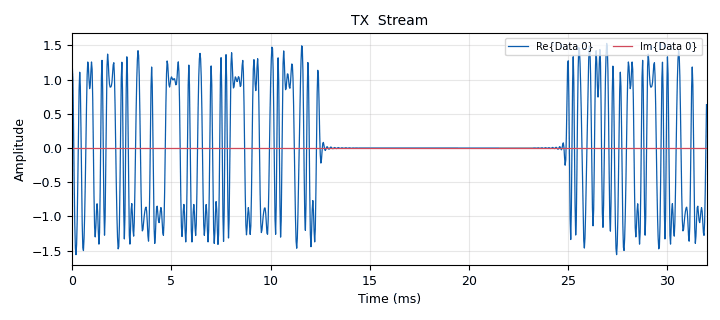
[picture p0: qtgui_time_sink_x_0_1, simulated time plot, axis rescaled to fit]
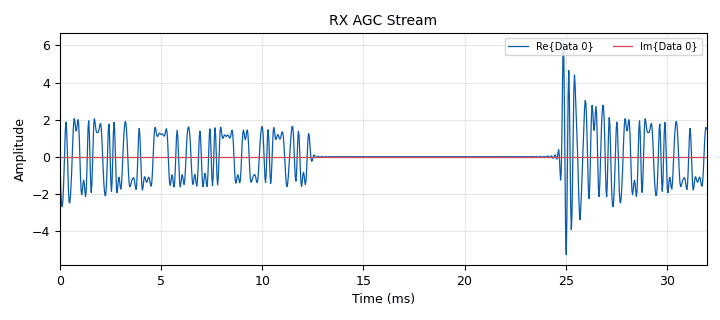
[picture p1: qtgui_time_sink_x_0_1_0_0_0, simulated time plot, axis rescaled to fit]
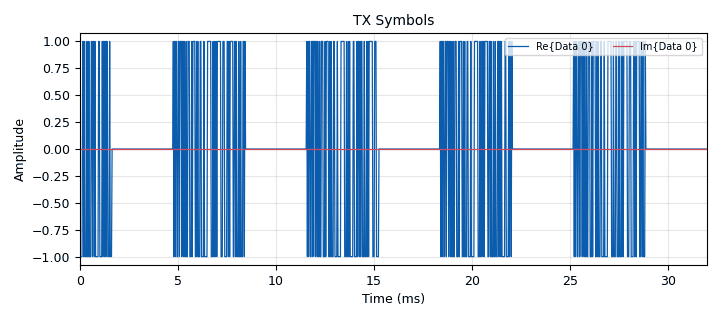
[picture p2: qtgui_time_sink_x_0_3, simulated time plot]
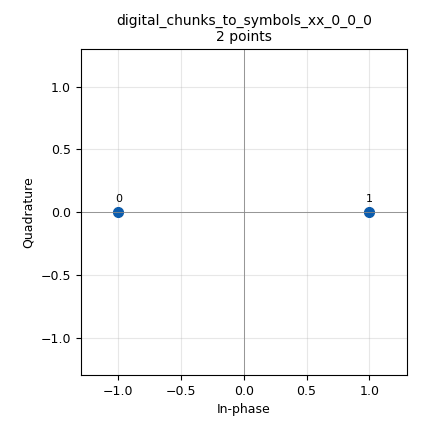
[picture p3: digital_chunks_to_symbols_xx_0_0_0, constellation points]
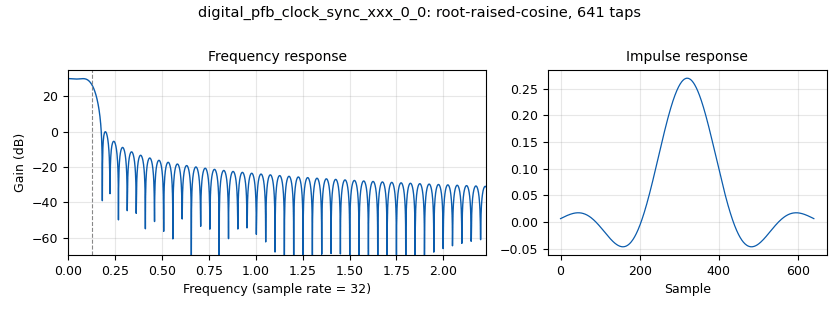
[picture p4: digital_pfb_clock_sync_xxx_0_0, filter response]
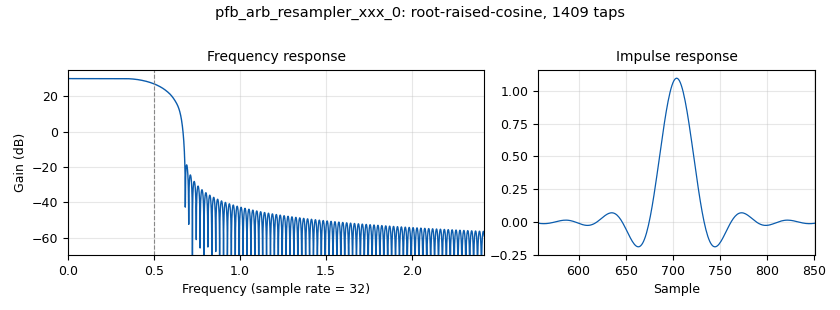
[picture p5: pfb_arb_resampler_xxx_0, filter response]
<?xml version='1.0' encoding='utf-8'?>
<?grc format='1' created='3.7.9'?>
<flow_graph>
<block>
<key>options</key>
<param><key>id</key><value>basic_chain</value></param>
<param><key>category</key><value>Custom</value></param>
<param><key>generate_options</key><value>qt_gui</value></param>
</block>
<block>
<key>variable_constellation</key>
<param><key>id</key><value>constel_header</value></param>
<param><key>const_points</key><value>[1,-1]</value></param>
<param><key>dims</key><value>1</value></param>
<param><key>_enabled</key><value>0</value></param>
<param><key>rot_sym</key><value>2</value></param>
<param><key>precision</key><value>8</value></param>
<param><key>sym_map</key><value>[0,1]</value></param>
</block>
<block>
<key>variable</key>
<param><key>id</key><value>constel_header</value></param>
<param><key>value</key><value>digital.constellation_bpsk()</value></param>
</block>
<block>
<key>variable_constellation</key>
<param><key>id</key><value>constel_payload</value></param>
<param><key>const_points</key><value>[-1-1j, -1+1j, 1+1j, 1-1j]</value></param>
<param><key>dims</key><value>1</value></param>
<param><key>_enabled</key><value>0</value></param>
<param><key>rot_sym</key><value>4</value></param>
<param><key>precision</key><value>8</value></param>
<param><key>sym_map</key><value>[0, 1, 3, 2]</value></param>
</block>
<block>
<key>variable</key>
<param><key>id</key><value>constel_payload</value></param>
<param><key>value</key><value>digital.constellation_bpsk()</value></param>
</block>
<block>
<key>variable</key>
<param><key>id</key><value>constel_preamble</value></param>
<param><key>value</key><value>digital.constellation_bpsk()</value></param>
</block>
<block>
<key>variable</key>
<param><key>id</key><value>eb</value></param>
<param><key>value</key><value>0.35</value></param>
</block>
<block>
<key>variable</key>
<param><key>id</key><value>header_formatter</value></param>
<param><key>value</key><value>digital.packet_header_default(4, "packet_len", "packet_num", constel_header.bits_per_symbol())</value></param>
</block>
<block>
<key>variable</key>
<param><key>id</key><value>matched_filter</value></param>
<param><key>value</key><value>firdes.root_raised_cosine(nfilts, nfilts, 1.0, eb, 11*sps*nfilts)</value></param>
</block>
<block>
<key>variable</key>
<param><key>id</key><value>nfilts</value></param>
<param><key>value</key><value>32</value></param>
</block>
<block>
<key>variable</key>
<param><key>id</key><value>preamble</value></param>
<param><key>value</key><value>[1,-1,1,-1,1,1,-1,-1,1,1,-1,1,1,1,-1,1,1,-1,1,-1,-1,1,-1,-1,1,1,1,-1,-1,-1,1,-1,1,1,1,1,-1,-1,1,-1,1,-1,-1,-1,1,1,-1,-1,-1,-1,1,-1,-1,-1,-1,-1,1,1,1,1,1,1,-1,-1]</value></param>
</block>
<block>
<key>variable</key>
<param><key>id</key><value>rrc_taps</value></param>
<param><key>value</key><value>firdes.root_raised_cosine(nfilts, nfilts, 1.0/float(sps), eb, 5*sps*nfilts)</value></param>
</block>
<block>
<key>variable</key>
<param><key>id</key><value>rrc_taps_enc</value></param>
<param><key>value</key><value>firdes.root_raised_cosine(nfilts, nfilts, 1.0, eb, 11*sps*nfilts)</value></param>
</block>
<block>
<key>variable_qtgui_range</key>
<param><key>id</key><value>samp_rate</value></param>
<param><key>value</key><value>32000</value></param>
<param><key>gui_hint</key><value>3,1,1,1</value></param>
<param><key>label</key><value>Sample rate</value></param>
<param><key>orient</key><value>Qt.Horizontal</value></param>
<param><key>start</key><value>1</value></param>
<param><key>step</key><value>10</value></param>
<param><key>stop</key><value>256000</value></param>
<param><key>rangeType</key><value>int</value></param>
<param><key>widget</key><value>slider</value></param>
</block>
<block>
<key>variable</key>
<param><key>id</key><value>samp_rate</value></param>
<param><key>_enabled</key><value>0</value></param>
<param><key>value</key><value>32000</value></param>
</block>
<block>
<key>variable</key>
<param><key>id</key><value>sps</value></param>
<param><key>value</key><value>4</value></param>
</block>
<block>
<key>analog_agc2_xx</key>
<param><key>id</key><value>analog_agc2_xx_0</value></param>
<param><key>attack_rate</key><value>0.6e-1</value></param>
<param><key>decay_rate</key><value>1e-3</value></param>
<param><key>_enabled</key><value>0</value></param>
<param><key>gain</key><value>1.0</value></param>
<param><key>max_gain</key><value>65536</value></param>
<param><key>reference</key><value>1.0</value></param>
<param><key>type</key><value>complex</value></param>
</block>
<block>
<key>analog_agc2_xx</key>
<param><key>id</key><value>analog_agc2_xx_0_0</value></param>
<param><key>attack_rate</key><value>1e-1</value></param>
<param><key>decay_rate</key><value>1e-2</value></param>
<param><key>gain</key><value>1.0</value></param>
<param><key>max_gain</key><value>5</value></param>
<param><key>reference</key><value>1.0</value></param>
<param><key>type</key><value>complex</value></param>
</block>
<block>
<key>analog_random_source_x</key>
<param><key>id</key><value>analog_random_source_x_0_0</value></param>
<param><key>max</key><value>256</value></param>
<param><key>min</key><value>0</value></param>
<param><key>num_samps</key><value>10</value></param>
<param><key>type</key><value>byte</value></param>
<param><key>repeat</key><value>True</value></param>
</block>
<block>
<key>blocks_char_to_float</key>
<param><key>id</key><value>blocks_char_to_float_0</value></param>
<param><key>_enabled</key><value>0</value></param>
<param><key>scale</key><value>1</value></param>
</block>
<block>
<key>blocks_char_to_float</key>
<param><key>id</key><value>blocks_char_to_float_1</value></param>
<param><key>scale</key><value>1</value></param>
</block>
<block>
<key>blocks_complex_to_imag</key>
<param><key>id</key><value>blocks_complex_to_imag_0</value></param>
</block>
<block>
<key>blocks_complex_to_real</key>
<param><key>id</key><value>blocks_complex_to_real_0</value></param>
</block>
<block>
<key>blocks_null_sink</key>
<param><key>id</key><value>blocks_null_sink_0</value></param>
<param><key>bus_conns</key><value>[[0,],]</value></param>
<param><key>type</key><value>float</value></param>
</block>
<block>
<key>blocks_null_source</key>
<param><key>id</key><value>blocks_null_source_0</value></param>
<param><key>bus_conns</key><value>[[0,],]</value></param>
<param><key>type</key><value>float</value></param>
</block>
<block>
<key>blocks_null_source</key>
<param><key>id</key><value>blocks_null_source_0_0</value></param>
<param><key>bus_conns</key><value>[[0,],]</value></param>
<param><key>type</key><value>complex</value></param>
</block>
<block>
<key>blocks_null_source</key>
<param><key>id</key><value>blocks_null_source_1</value></param>
<param><key>bus_conns</key><value>[[0,],]</value></param>
<param><key>_enabled</key><value>0</value></param>
<param><key>type</key><value>float</value></param>
</block>
<block>
<key>blocks_repack_bits_bb</key>
<param><key>id</key><value>blocks_repack_bits_bb_0_0</value></param>
<param><key>k</key><value>constel_payload.bits_per_symbol()</value></param>
<param><key>l</key><value>constel_payload.bits_per_symbol()</value></param>
<param><key>endianness</key><value>gr.GR_LSB_FIRST</value></param>
<param><key>len_tag_key</key><value>"packet_len"</value></param>
</block>
<block>
<key>blocks_repack_bits_bb</key>
<param><key>id</key><value>blocks_repack_bits_bb_0_1</value></param>
<param><key>k</key><value>8</value></param>
<param><key>l</key><value>constel_payload.bits_per_symbol()</value></param>
<param><key>endianness</key><value>gr.GR_LSB_FIRST</value></param>
<param><key>len_tag_key</key><value></value></param>
</block>
<block>
<key>blocks_repack_bits_bb</key>
<param><key>id</key><value>blocks_repack_bits_bb_0_2</value></param>
<param><key>k</key><value>constel_payload.bits_per_symbol()</value></param>
<param><key>l</key><value>8</value></param>
<param><key>endianness</key><value>gr.GR_LSB_FIRST</value></param>
<param><key>len_tag_key</key><value></value></param>
</block>
<block>
<key>blocks_repack_bits_bb</key>
<param><key>id</key><value>blocks_repack_bits_bb_1</value></param>
<param><key>k</key><value>1</value></param>
<param><key>l</key><value>2</value></param>
<param><key>_enabled</key><value>0</value></param>
<param><key>endianness</key><value>gr.GR_MSB_FIRST</value></param>
</block>
<block>
<key>blocks_stream_to_tagged_stream</key>
<param><key>id</key><value>blocks_stream_to_tagged_stream_0_0</value></param>
<param><key>len_tag_key</key><value>"packet_len"</value></param>
<param><key>packet_len</key><value>64</value></param>
<param><key>type</key><value>complex</value></param>
</block>
<block>
<key>blocks_stream_to_tagged_stream</key>
<param><key>id</key><value>blocks_stream_to_tagged_stream_0_0_0_0</value></param>
<param><key>len_tag_key</key><value>"packet_len"</value></param>
<param><key>packet_len</key><value>100</value></param>
<param><key>type</key><value>complex</value></param>
</block>
<block>
<key>blocks_stream_to_tagged_stream</key>
<param><key>id</key><value>blocks_stream_to_tagged_stream_0_1</value></param>
<param><key>len_tag_key</key><value>"packet_len"</value></param>
<param><key>packet_len</key><value>50</value></param>
<param><key>type</key><value>byte</value></param>
</block>
<block>
<key>blocks_tag_gate</key>
<param><key>id</key><value>blocks_tag_gate_0</value></param>
<param><key>type</key><value>complex</value></param>
<param><key>propagate_tags</key><value>False</value></param>
</block>
<block>
<key>blocks_tagged_stream_mux</key>
<param><key>id</key><value>blocks_tagged_stream_mux_0_0</value></param>
<param><key>type</key><value>complex</value></param>
<param><key>lengthtagname</key><value>packet_len</value></param>
<param><key>ninputs</key><value>4</value></param>
</block>
<block>
<key>blocks_throttle</key>
<param><key>id</key><value>blocks_throttle_0</value></param>
<param><key>samples_per_second</key><value>samp_rate/2</value></param>
<param><key>type</key><value>complex</value></param>
</block>
<block>
<key>blocks_vector_source_x</key>
<param><key>id</key><value>blocks_vector_source_x_0_0</value></param>
<param><key>type</key><value>complex</value></param>
<param><key>repeat</key><value>True</value></param>
<param><key>vector</key><value>preamble</value></param>
</block>
<block>
<key>channels_channel_model</key>
<param><key>id</key><value>channels_channel_model_0</value></param>
<param><key>epsilon</key><value>1.0</value></param>
<param><key>freq_offset</key><value>0.0</value></param>
<param><key>noise_voltage</key><value>0.0</value></param>
<param><key>seed</key><value>0</value></param>
<param><key>taps</key><value>1</value></param>
</block>
<block>
<key>digital_binary_slicer_fb</key>
<param><key>id</key><value>digital_binary_slicer_fb_0</value></param>
<param><key>_enabled</key><value>0</value></param>
</block>
<block>
<key>digital_chunks_to_symbols_xx</key>
<param><key>id</key><value>digital_chunks_to_symbols_xx_0_0_0</value></param>
<param><key>dimension</key><value>1</value></param>
<param><key>in_type</key><value>byte</value></param>
<param><key>out_type</key><value>complex</value></param>
<param><key>symbol_table</key><value>constel_payload.points()</value></param>
</block>
<block>
<key>digital_chunks_to_symbols_xx</key>
<param><key>id</key><value>digital_chunks_to_symbols_xx_0_1</value></param>
<param><key>dimension</key><value>1</value></param>
<param><key>in_type</key><value>byte</value></param>
<param><key>out_type</key><value>complex</value></param>
<param><key>symbol_table</key><value>constel_header.points()</value></param>
</block>
<block>
<key>digital_constellation_decoder_cb</key>
<param><key>id</key><value>digital_constellation_decoder_cb_0</value></param>
<param><key>constellation</key><value>constel_header.base()</value></param>
</block>
<block>
<key>digital_constellation_decoder_cb</key>
<param><key>id</key><value>digital_constellation_decoder_cb_0_0</value></param>
<param><key>constellation</key><value>constel_payload.base()</value></param>
</block>
<block>
<key>digital_constellation_soft_decoder_cf</key>
<param><key>id</key><value>digital_constellation_soft_decoder_cf_0</value></param>
<param><key>constellation</key><value>constel_payload.base()</value></param>
<param><key>_enabled</key><value>0</value></param>
</block>
<block>
<key>digital_correlate_and_sync_cc</key>
<param><key>id</key><value>digital_correlate_and_sync_cc_0</value></param>
<param><key>filter</key><value>matched_filter</value></param>
<param><key>sps</key><value>sps</value></param>
<param><key>symbols</key><value>preamble</value></param>
</block>
<block>
<key>digital_fll_band_edge_cc</key>
<param><key>id</key><value>digital_fll_band_edge_cc_0</value></param>
<param><key>_enabled</key><value>0</value></param>
<param><key>rolloff</key><value>eb</value></param>
<param><key>w</key><value>3.14*2/1000</value></param>
<param><key>filter_size</key><value>55</value></param>
<param><key>samps_per_sym</key><value>sps</value></param>
<param><key>type</key><value>cc</value></param>
</block>
<block>
<key>digital_header_payload_demux</key>
<param><key>id</key><value>digital_header_payload_demux_0</value></param>
<param><key>header_len</key><value>16</value></param>
<param><key>type</key><value>complex</value></param>
<param><key>items_per_symbol</key><value>1</value></param>
<param><key>length_tag_key</key><value>"packet_len"</value></param>
<param><key>output_symbols</key><value>True</value></param>
<param><key>samp_rate</key><value>samp_rate</value></param>
<param><key>special_tags</key><value>()</value></param>
<param><key>timing_tag_key</key><value></value></param>
<param><key>trigger_tag_key</key><value>"packet_len"</value></param>
</block>
<block>
<key>digital_packet_headergenerator_bb</key>
<param><key>id</key><value>digital_packet_headergenerator_bb_0_0</value></param>
<param><key>header_formatter</key><value>header_formatter</value></param>
<param><key>len_tag_key</key><value>"packet_len"</value></param>
</block>
<block>
<key>digital_packet_headerparser_b</key>
<param><key>id</key><value>digital_packet_headerparser_b_0</value></param>
<param><key>header_formatter</key><value>header_formatter.base()</value></param>
</block>
<block>
<key>digital_pfb_clock_sync_xxx</key>
<param><key>id</key><value>digital_pfb_clock_sync_xxx_0</value></param>
<param><key>_enabled</key><value>0</value></param>
<param><key>filter_size</key><value>32</value></param>
<param><key>init_phase</key><value>16</value></param>
<param><key>loop_bw</key><value>3.14*2/1000</value></param>
<param><key>max_dev</key><value>1.0</value></param>
<param><key>osps</key><value>1</value></param>
<param><key>sps</key><value>sps</value></param>
<param><key>taps</key><value>rrc_taps</value></param>
<param><key>type</key><value>ccf</value></param>
</block>
<block>
<key>digital_pfb_clock_sync_xxx</key>
<param><key>id</key><value>digital_pfb_clock_sync_xxx_0_0</value></param>
<param><key>filter_size</key><value>32</value></param>
<param><key>init_phase</key><value>0</value></param>
<param><key>loop_bw</key><value>3.14*2/100</value></param>
<param><key>max_dev</key><value>1.5</value></param>
<param><key>osps</key><value>1</value></param>
<param><key>sps</key><value>sps</value></param>
<param><key>taps</key><value>rrc_taps</value></param>
<param><key>type</key><value>ccf</value></param>
</block>
<block>
<key>pfb_arb_resampler_xxx</key>
<param><key>id</key><value>pfb_arb_resampler_xxx_0</value></param>
<param><key>nfilts</key><value>32</value></param>
<param><key>rrate</key><value>sps</value></param>
<param><key>atten</key><value>100</value></param>
<param><key>taps</key><value>rrc_taps_enc</value></param>
<param><key>type</key><value>ccf</value></param>
</block>
<block>
<key>qtgui_const_sink_x</key>
<param><key>id</key><value>qtgui_const_sink_x_0_0</value></param>
<param><key>name</key><value>"RX  Header Constellations"</value></param>
<param><key>size</key><value>1024</value></param>
<param><key>type</key><value>complex</value></param>
</block>
<block>
<key>qtgui_time_sink_x</key>
<param><key>id</key><value>qtgui_time_sink_x_0_0</value></param>
<param><key>color1</key><value>"blue"</value></param>
<param><key>label1</key><value></value></param>
<param><key>color2</key><value>"red"</value></param>
<param><key>label2</key><value></value></param>
<param><key>name</key><value>"RX Symbols"</value></param>
<param><key>size</key><value>1024</value></param>
<param><key>srate</key><value>samp_rate</value></param>
<param><key>type</key><value>complex</value></param>
</block>
<block>
<key>qtgui_time_sink_x</key>
<param><key>id</key><value>qtgui_time_sink_x_0_1</value></param>
<param><key>color1</key><value>"blue"</value></param>
<param><key>label1</key><value></value></param>
<param><key>color2</key><value>"red"</value></param>
<param><key>label2</key><value></value></param>
<param><key>name</key><value>"TX  Stream"</value></param>
<param><key>size</key><value>1024</value></param>
<param><key>srate</key><value>samp_rate</value></param>
<param><key>type</key><value>complex</value></param>
</block>
<block>
<key>qtgui_time_sink_x</key>
<param><key>id</key><value>qtgui_time_sink_x_0_1_0</value></param>
<param><key>_enabled</key><value>0</value></param>
<param><key>color1</key><value>"blue"</value></param>
<param><key>label1</key><value></value></param>
<param><key>color2</key><value>"red"</value></param>
<param><key>label2</key><value></value></param>
<param><key>name</key><value>"RX Synced Stream"</value></param>
<param><key>size</key><value>1024</value></param>
<param><key>srate</key><value>samp_rate</value></param>
<param><key>type</key><value>complex</value></param>
</block>
<block>
<key>qtgui_time_sink_x</key>
<param><key>id</key><value>qtgui_time_sink_x_0_1_0_0</value></param>
<param><key>color1</key><value>"blue"</value></param>
<param><key>label1</key><value></value></param>
<param><key>color2</key><value>"red"</value></param>
<param><key>label2</key><value></value></param>
<param><key>name</key><value>"RX  Costas Stream"</value></param>
<param><key>size</key><value>1024</value></param>
<param><key>srate</key><value>samp_rate</value></param>
<param><key>type</key><value>complex</value></param>
<param><key>ymax</key><value>100</value></param>
<param><key>ymin</key><value>-100</value></param>
</block>
<block>
<key>qtgui_time_sink_x</key>
<param><key>id</key><value>qtgui_time_sink_x_0_1_0_0_0</value></param>
<param><key>color1</key><value>"blue"</value></param>
<param><key>label1</key><value></value></param>
<param><key>color2</key><value>"red"</value></param>
<param><key>label2</key><value></value></param>
<param><key>name</key><value>"RX AGC Stream"</value></param>
<param><key>size</key><value>1024</value></param>
<param><key>srate</key><value>samp_rate</value></param>
<param><key>type</key><value>complex</value></param>
</block>
<block>
<key>qtgui_time_sink_x</key>
<param><key>id</key><value>qtgui_time_sink_x_0_1_0_0_0_0</value></param>
<param><key>color1</key><value>"blue"</value></param>
<param><key>label1</key><value></value></param>
<param><key>color2</key><value>"red"</value></param>
<param><key>label2</key><value></value></param>
<param><key>name</key><value>"RX Correlated Stream"</value></param>
<param><key>size</key><value>1024</value></param>
<param><key>srate</key><value>samp_rate</value></param>
<param><key>type</key><value>complex</value></param>
</block>
<block>
<key>qtgui_time_sink_x</key>
<param><key>id</key><value>qtgui_time_sink_x_0_1_0_0_1</value></param>
<param><key>color1</key><value>"blue"</value></param>
<param><key>label1</key><value></value></param>
<param><key>color2</key><value>"red"</value></param>
<param><key>label2</key><value></value></param>
<param><key>name</key><value>"RX  Demux Header Stream"</value></param>
<param><key>size</key><value>1024</value></param>
<param><key>srate</key><value>samp_rate</value></param>
<param><key>type</key><value>complex</value></param>
<param><key>ymax</key><value>100</value></param>
<param><key>ymin</key><value>-100</value></param>
</block>
<block>
<key>qtgui_time_sink_x</key>
<param><key>id</key><value>qtgui_time_sink_x_0_1_0_0_1_0</value></param>
<param><key>color1</key><value>"blue"</value></param>
<param><key>label1</key><value></value></param>
<param><key>color2</key><value>"red"</value></param>
<param><key>label2</key><value></value></param>
<param><key>name</key><value>"RX  Demux Paylaod Stream"</value></param>
<param><key>size</key><value>1024</value></param>
<param><key>srate</key><value>samp_rate</value></param>
<param><key>type</key><value>complex</value></param>
<param><key>ymax</key><value>100</value></param>
<param><key>ymin</key><value>-100</value></param>
</block>
<block>
<key>qtgui_time_sink_x</key>
<param><key>id</key><value>qtgui_time_sink_x_0_1_0_0_2</value></param>
<param><key>color1</key><value>"blue"</value></param>
<param><key>label1</key><value></value></param>
<param><key>color2</key><value>"red"</value></param>
<param><key>label2</key><value></value></param>
<param><key>name</key><value>"RX  Polyphased Stream"</value></param>
<param><key>size</key><value>1024</value></param>
<param><key>srate</key><value>samp_rate</value></param>
<param><key>type</key><value>complex</value></param>
<param><key>ymax</key><value>100</value></param>
<param><key>ymin</key><value>-100</value></param>
</block>
<block>
<key>qtgui_time_sink_x</key>
<param><key>id</key><value>qtgui_time_sink_x_0_2</value></param>
<param><key>color1</key><value>"blue"</value></param>
<param><key>label1</key><value></value></param>
<param><key>color2</key><value>"red"</value></param>
<param><key>label2</key><value></value></param>
<param><key>name</key><value>"Correlation"</value></param>
<param><key>nconnections</key><value>2</value></param>
<param><key>size</key><value>10000</value></param>
<param><key>srate</key><value>samp_rate*2</value></param>
<param><key>type</key><value>float</value></param>
<param><key>update_time</key><value>0.02</value></param>
</block>
<block>
<key>qtgui_time_sink_x</key>
<param><key>id</key><value>qtgui_time_sink_x_0_3</value></param>
<param><key>color1</key><value>"blue"</value></param>
<param><key>label1</key><value></value></param>
<param><key>color2</key><value>"red"</value></param>
<param><key>label2</key><value></value></param>
<param><key>name</key><value>"TX Symbols"</value></param>
<param><key>size</key><value>1024</value></param>
<param><key>srate</key><value>samp_rate</value></param>
<param><key>type</key><value>complex</value></param>
</block>
<block>
<key>qtgui_time_sink_x</key>
<param><key>id</key><value>qtgui_time_sink_x_1</value></param>
<param><key>color1</key><value>"blue"</value></param>
<param><key>label1</key><value>Original data</value></param>
<param><key>color2</key><value>"red"</value></param>
<param><key>label2</key><value>Received data</value></param>
<param><key>name</key><value>"Data comparison"</value></param>
<param><key>nconnections</key><value>2</value></param>
<param><key>size</key><value>1024</value></param>
<param><key>srate</key><value>samp_rate</value></param>
<param><key>type</key><value>float</value></param>
</block>
<block>
<key>virtual_sink</key>
<param><key>id</key><value>virtual_sink_0_0</value></param>
<param><key>stream_id</key><value>tx_symbol_stream</value></param>
</block>
<block>
<key>virtual_sink</key>
<param><key>id</key><value>virtual_sink_1</value></param>
<param><key>stream_id</key><value>rx_stream</value></param>
</block>
<block>
<key>virtual_sink</key>
<param><key>id</key><value>virtual_sink_1_0</value></param>
<param><key>stream_id</key><value>tx_stream</value></param>
</block>
<block>
<key>virtual_sink</key>
<param><key>id</key><value>virtual_sink_1_0_0</value></param>
<param><key>_enabled</key><value>0</value></param>
<param><key>stream_id</key><value>rx_synced_stream</value></param>
</block>
<block>
<key>virtual_sink</key>
<param><key>id</key><value>virtual_sink_1_0_0_0</value></param>
<param><key>stream_id</key><value>rx_synced_stream</value></param>
</block>
<block>
<key>virtual_sink</key>
<param><key>id</key><value>virtual_sink_1_1</value></param>
<param><key>stream_id</key><value>src_data</value></param>
</block>
<block>
<key>virtual_sink</key>
<param><key>id</key><value>virtual_sink_2</value></param>
<param><key>stream_id</key><value>snk_data</value></param>
</block>
<block>
<key>virtual_source</key>
<param><key>id</key><value>virtual_source_0</value></param>
<param><key>stream_id</key><value>tx_stream</value></param>
</block>
<block>
<key>virtual_source</key>
<param><key>id</key><value>virtual_source_0_0</value></param>
<param><key>stream_id</key><value>tx_symbol_stream</value></param>
</block>
<block>
<key>virtual_source</key>
<param><key>id</key><value>virtual_source_0_1</value></param>
<param><key>_enabled</key><value>0</value></param>
<param><key>stream_id</key><value>src_data</value></param>
</block>
<block>
<key>virtual_source</key>
<param><key>id</key><value>virtual_source_1</value></param>
<param><key>stream_id</key><value>rx_synced_stream</value></param>
</block>
<block>
<key>virtual_source</key>
<param><key>id</key><value>virtual_source_1_0</value></param>
<param><key>_enabled</key><value>0</value></param>
<param><key>stream_id</key><value>rx_stream</value></param>
</block>
<block>
<key>virtual_source</key>
<param><key>id</key><value>virtual_source_1_0_0</value></param>
<param><key>stream_id</key><value>rx_stream</value></param>
</block>
<block>
<key>virtual_source</key>
<param><key>id</key><value>virtual_source_2</value></param>
<param><key>stream_id</key><value>snk_data</value></param>
</block>
<connection><source_block_id>analog_agc2_xx_0</source_block_id><sink_block_id>digital_fll_band_edge_cc_0</sink_block_id><source_key>0</source_key><sink_key>0</sink_key></connection>
<connection><source_block_id>analog_agc2_xx_0_0</source_block_id><sink_block_id>digital_correlate_and_sync_cc_0</sink_block_id><source_key>0</source_key><sink_key>0</sink_key></connection>
<connection><source_block_id>analog_agc2_xx_0_0</source_block_id><sink_block_id>qtgui_time_sink_x_0_1_0_0_0</sink_block_id><source_key>0</source_key><sink_key>0</sink_key></connection>
<connection><source_block_id>analog_random_source_x_0_0</source_block_id><sink_block_id>blocks_repack_bits_bb_0_1</sink_block_id><source_key>0</source_key><sink_key>0</sink_key></connection>
<connection><source_block_id>blocks_char_to_float_0</source_block_id><sink_block_id>qtgui_time_sink_x_1</sink_block_id><source_key>0</source_key><sink_key>0</sink_key></connection>
<connection><source_block_id>blocks_char_to_float_1</source_block_id><sink_block_id>virtual_sink_2</sink_block_id><source_key>0</source_key><sink_key>0</sink_key></connection>
<connection><source_block_id>blocks_complex_to_imag_0</source_block_id><sink_block_id>qtgui_time_sink_x_0_2</sink_block_id><source_key>0</source_key><sink_key>1</sink_key></connection>
<connection><source_block_id>blocks_complex_to_real_0</source_block_id><sink_block_id>qtgui_time_sink_x_0_2</sink_block_id><source_key>0</source_key><sink_key>0</sink_key></connection>
<connection><source_block_id>blocks_null_source_0</source_block_id><sink_block_id>qtgui_time_sink_x_1</sink_block_id><source_key>0</source_key><sink_key>0</sink_key></connection>
<connection><source_block_id>blocks_null_source_0_0</source_block_id><sink_block_id>blocks_stream_to_tagged_stream_0_0_0_0</sink_block_id><source_key>0</source_key><sink_key>0</sink_key></connection>
<connection><source_block_id>blocks_null_source_1</source_block_id><sink_block_id>qtgui_time_sink_x_1</sink_block_id><source_key>0</source_key><sink_key>1</sink_key></connection>
<connection><source_block_id>blocks_repack_bits_bb_0_0</source_block_id><sink_block_id>digital_chunks_to_symbols_xx_0_0_0</sink_block_id><source_key>0</source_key><sink_key>0</sink_key></connection>
<connection><source_block_id>blocks_repack_bits_bb_0_1</source_block_id><sink_block_id>blocks_stream_to_tagged_stream_0_1</sink_block_id><source_key>0</source_key><sink_key>0</sink_key></connection>
<connection><source_block_id>blocks_repack_bits_bb_0_2</source_block_id><sink_block_id>digital_packet_headergenerator_bb_0_0</sink_block_id><source_key>0</source_key><sink_key>0</sink_key></connection>
<connection><source_block_id>blocks_repack_bits_bb_1</source_block_id><sink_block_id>blocks_char_to_float_1</sink_block_id><source_key>0</source_key><sink_key>0</sink_key></connection>
<connection><source_block_id>blocks_stream_to_tagged_stream_0_0</source_block_id><sink_block_id>blocks_tagged_stream_mux_0_0</sink_block_id><source_key>0</source_key><sink_key>0</sink_key></connection>
<connection><source_block_id>blocks_stream_to_tagged_stream_0_0_0_0</source_block_id><sink_block_id>blocks_tagged_stream_mux_0_0</sink_block_id><source_key>0</source_key><sink_key>3</sink_key></connection>
<connection><source_block_id>blocks_stream_to_tagged_stream_0_1</source_block_id><sink_block_id>blocks_repack_bits_bb_0_0</sink_block_id><source_key>0</source_key><sink_key>0</sink_key></connection>
<connection><source_block_id>blocks_stream_to_tagged_stream_0_1</source_block_id><sink_block_id>blocks_repack_bits_bb_0_2</sink_block_id><source_key>0</source_key><sink_key>0</sink_key></connection>
<connection><source_block_id>blocks_stream_to_tagged_stream_0_1</source_block_id><sink_block_id>virtual_sink_1_1</sink_block_id><source_key>0</source_key><sink_key>0</sink_key></connection>
<connection><source_block_id>blocks_tag_gate_0</source_block_id><sink_block_id>blocks_throttle_0</sink_block_id><source_key>0</source_key><sink_key>0</sink_key></connection>
<connection><source_block_id>blocks_tagged_stream_mux_0_0</source_block_id><sink_block_id>qtgui_time_sink_x_0_3</sink_block_id><source_key>0</source_key><sink_key>0</sink_key></connection>
<connection><source_block_id>blocks_tagged_stream_mux_0_0</source_block_id><sink_block_id>virtual_sink_0_0</sink_block_id><source_key>0</source_key><sink_key>0</sink_key></connection>
<connection><source_block_id>blocks_throttle_0</source_block_id><sink_block_id>channels_channel_model_0</sink_block_id><source_key>0</source_key><sink_key>0</sink_key></connection>
<connection><source_block_id>blocks_vector_source_x_0_0</source_block_id><sink_block_id>blocks_stream_to_tagged_stream_0_0</sink_block_id><source_key>0</source_key><sink_key>0</sink_key></connection>
<connection><source_block_id>channels_channel_model_0</source_block_id><sink_block_id>virtual_sink_1</sink_block_id><source_key>0</source_key><sink_key>0</sink_key></connection>
<connection><source_block_id>digital_binary_slicer_fb_0</source_block_id><sink_block_id>blocks_repack_bits_bb_1</sink_block_id><source_key>0</source_key><sink_key>0</sink_key></connection>
<connection><source_block_id>digital_chunks_to_symbols_xx_0_0_0</source_block_id><sink_block_id>blocks_tagged_stream_mux_0_0</sink_block_id><source_key>0</source_key><sink_key>2</sink_key></connection>
<connection><source_block_id>digital_chunks_to_symbols_xx_0_1</source_block_id><sink_block_id>blocks_tagged_stream_mux_0_0</sink_block_id><source_key>0</source_key><sink_key>1</sink_key></connection>
<connection><source_block_id>digital_constellation_decoder_cb_0</source_block_id><sink_block_id>digital_packet_headerparser_b_0</sink_block_id><source_key>0</source_key><sink_key>0</sink_key></connection>
<connection><source_block_id>digital_constellation_decoder_cb_0_0</source_block_id><sink_block_id>blocks_char_to_float_1</sink_block_id><source_key>0</source_key><sink_key>0</sink_key></connection>
<connection><source_block_id>digital_constellation_soft_decoder_cf_0</source_block_id><sink_block_id>digital_binary_slicer_fb_0</sink_block_id><source_key>0</source_key><sink_key>0</sink_key></connection>
<connection><source_block_id>digital_correlate_and_sync_cc_0</source_block_id><sink_block_id>blocks_complex_to_imag_0</sink_block_id><source_key>1</source_key><sink_key>0</sink_key></connection>
<connection><source_block_id>digital_correlate_and_sync_cc_0</source_block_id><sink_block_id>blocks_complex_to_real_0</sink_block_id><source_key>1</source_key><sink_key>0</sink_key></connection>
<connection><source_block_id>digital_correlate_and_sync_cc_0</source_block_id><sink_block_id>digital_pfb_clock_sync_xxx_0_0</sink_block_id><source_key>0</source_key><sink_key>0</sink_key></connection>
<connection><source_block_id>digital_correlate_and_sync_cc_0</source_block_id><sink_block_id>qtgui_time_sink_x_0_1_0_0_0_0</sink_block_id><source_key>0</source_key><sink_key>0</sink_key></connection>
<connection><source_block_id>digital_fll_band_edge_cc_0</source_block_id><sink_block_id>digital_pfb_clock_sync_xxx_0</sink_block_id><source_key>0</source_key><sink_key>0</sink_key></connection>
<connection><source_block_id>digital_header_payload_demux_0</source_block_id><sink_block_id>digital_constellation_decoder_cb_0</sink_block_id><source_key>0</source_key><sink_key>0</sink_key></connection>
<connection><source_block_id>digital_header_payload_demux_0</source_block_id><sink_block_id>qtgui_const_sink_x_0_0</sink_block_id><source_key>0</source_key><sink_key>0</sink_key></connection>
<connection><source_block_id>digital_header_payload_demux_0</source_block_id><sink_block_id>qtgui_time_sink_x_0_1_0_0_1</sink_block_id><source_key>0</source_key><sink_key>0</sink_key></connection>
<connection><source_block_id>digital_header_payload_demux_0</source_block_id><sink_block_id>digital_constellation_decoder_cb_0_0</sink_block_id><source_key>1</source_key><sink_key>0</sink_key></connection>
<connection><source_block_id>digital_header_payload_demux_0</source_block_id><sink_block_id>digital_constellation_soft_decoder_cf_0</sink_block_id><source_key>1</source_key><sink_key>0</sink_key></connection>
<connection><source_block_id>digital_header_payload_demux_0</source_block_id><sink_block_id>qtgui_time_sink_x_0_1_0_0_1_0</sink_block_id><source_key>1</source_key><sink_key>0</sink_key></connection>
<connection><source_block_id>digital_packet_headergenerator_bb_0_0</source_block_id><sink_block_id>digital_chunks_to_symbols_xx_0_1</sink_block_id><source_key>0</source_key><sink_key>0</sink_key></connection>
<connection><source_block_id>digital_packet_headerparser_b_0</source_block_id><sink_block_id>digital_header_payload_demux_0</sink_block_id><source_key>header_data</source_key><sink_key>header_data</sink_key></connection>
<connection><source_block_id>digital_pfb_clock_sync_xxx_0</source_block_id><sink_block_id>qtgui_time_sink_x_0_1_0</sink_block_id><source_key>0</source_key><sink_key>0</sink_key></connection>
<connection><source_block_id>digital_pfb_clock_sync_xxx_0</source_block_id><sink_block_id>virtual_sink_1_0_0</sink_block_id><source_key>0</source_key><sink_key>0</sink_key></connection>
<connection><source_block_id>digital_pfb_clock_sync_xxx_0_0</source_block_id><sink_block_id>qtgui_time_sink_x_0_1_0_0_2</sink_block_id><source_key>0</source_key><sink_key>0</sink_key></connection>
<connection><source_block_id>digital_pfb_clock_sync_xxx_0_0</source_block_id><sink_block_id>virtual_sink_1_0_0_0</sink_block_id><source_key>0</source_key><sink_key>0</sink_key></connection>
<connection><source_block_id>pfb_arb_resampler_xxx_0</source_block_id><sink_block_id>qtgui_time_sink_x_0_1</sink_block_id><source_key>0</source_key><sink_key>0</sink_key></connection>
<connection><source_block_id>pfb_arb_resampler_xxx_0</source_block_id><sink_block_id>virtual_sink_1_0</sink_block_id><source_key>0</source_key><sink_key>0</sink_key></connection>
<connection><source_block_id>virtual_source_0</source_block_id><sink_block_id>blocks_tag_gate_0</sink_block_id><source_key>0</source_key><sink_key>0</sink_key></connection>
<connection><source_block_id>virtual_source_0_0</source_block_id><sink_block_id>pfb_arb_resampler_xxx_0</sink_block_id><source_key>0</source_key><sink_key>0</sink_key></connection>
<connection><source_block_id>virtual_source_0_1</source_block_id><sink_block_id>blocks_char_to_float_0</sink_block_id><source_key>0</source_key><sink_key>0</sink_key></connection>
<connection><source_block_id>virtual_source_1</source_block_id><sink_block_id>digital_header_payload_demux_0</sink_block_id><source_key>0</source_key><sink_key>0</sink_key></connection>
<connection><source_block_id>virtual_source_1</source_block_id><sink_block_id>qtgui_time_sink_x_0_0</sink_block_id><source_key>0</source_key><sink_key>0</sink_key></connection>
<connection><source_block_id>virtual_source_1_0</source_block_id><sink_block_id>analog_agc2_xx_0</sink_block_id><source_key>0</source_key><sink_key>0</sink_key></connection>
<connection><source_block_id>virtual_source_1_0_0</source_block_id><sink_block_id>analog_agc2_xx_0_0</sink_block_id><source_key>0</source_key><sink_key>0</sink_key></connection>
<connection><source_block_id>virtual_source_2</source_block_id><sink_block_id>blocks_null_sink_0</sink_block_id><source_key>0</source_key><sink_key>0</sink_key></connection>
<connection><source_block_id>virtual_source_2</source_block_id><sink_block_id>qtgui_time_sink_x_1</sink_block_id><source_key>0</source_key><sink_key>1</sink_key></connection>
</flow_graph>
